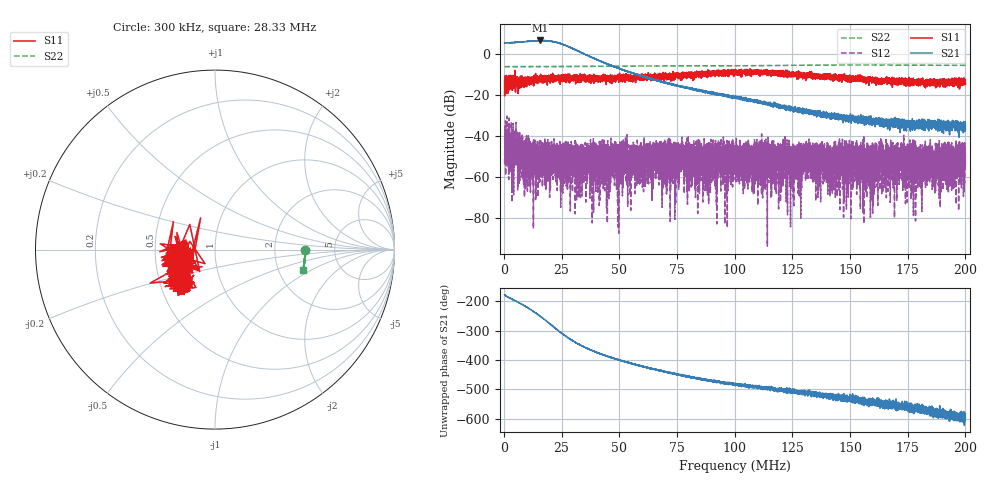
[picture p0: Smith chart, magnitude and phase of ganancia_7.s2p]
# Hz S DB R 50
! CMT, M5065, 19127446, 24.2.4/2
! Date: 11/8/2024 2:41:07 PM
! Data: Format (Calibration Info)
! Freq	S11:dB/Ang(F2)	S21:dB/Ang(F2)	S12:dB/Ang(F2)	S22:dB/Ang(F2)
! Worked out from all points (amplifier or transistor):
!   9000 points, 300 kHz to 200 MHz, reference 50 ohm
!   highest |S21| = 6.8 dB at 15.68 MHz (marker M1)
!   |S21| within 3 dB of that: start of sweep to 27.88 MHz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
!   unconditionally stable (mu >= 1): start of sweep to end of sweep
!   at 33.59 MHz: K = 82.02, MAG = 2.5 dB, |S12| = -48.4 dB
!   at 100.2 MHz: K = 793.98, MAG = -19.2 dB, |S12| = -46.9 dB
!   at 200 MHz: K = 12270.19, MAG = -35.1 dB, |S12| = -54.4 dB
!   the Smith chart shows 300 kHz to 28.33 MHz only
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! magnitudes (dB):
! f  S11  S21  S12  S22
! 300 kHz  -12.5  5.6  -53.8  -6.0
! 1.898 MHz  -13.2  5.7  -42.7  -6.0
! 15.68 MHz  -11.1  6.8  -46.3  -6.0
! 33.59 MHz  -11.4  0.9  -48.4  -5.9
! 52.41 MHz  -11.2  -8.0  -45.3  -5.8
! 53.98 MHz  -12.7  -8.6  -50.7  -5.7
! 56.47 MHz  -11.3  -9.6  -49.1  -5.7
! 66.87 MHz  -10.2  -13.0  -49.6  -5.7
! 71.07 MHz  -10.7  -14.1  -57.6  -5.6
! 77.84 MHz  -9.9  -15.9  -47.9  -5.6
! 80.54 MHz  -10.1  -16.3  -43.6  -5.6
! 100.2 MHz  -8.2  -21.4  -46.9  -5.5
! 112.1 MHz  -9.3  -23.6  -53.0  -5.5
! 114.4 MHz  -9.3  -24.3  -45.7  -5.5
! 133.4 MHz  -10.1  -29.4  -45.6  -5.3
! 141.3 MHz  -10.8  -29.2  -51.0  -5.2
! 166.7 MHz  -12.6  -32.4  -56.3  -5.2
! 181.1 MHz  -14.0  -36.5  -56.9  -5.3
! 184.9 MHz  -14.5  -35.3  -60.0  -5.3
! 186.7 MHz  -14.1  -32.5  -53.2  -5.3
! 198.1 MHz  -14.8  -34.9  -55.4  -5.4
! 200 MHz  -14.4  -36.7  -54.4  -5.4
